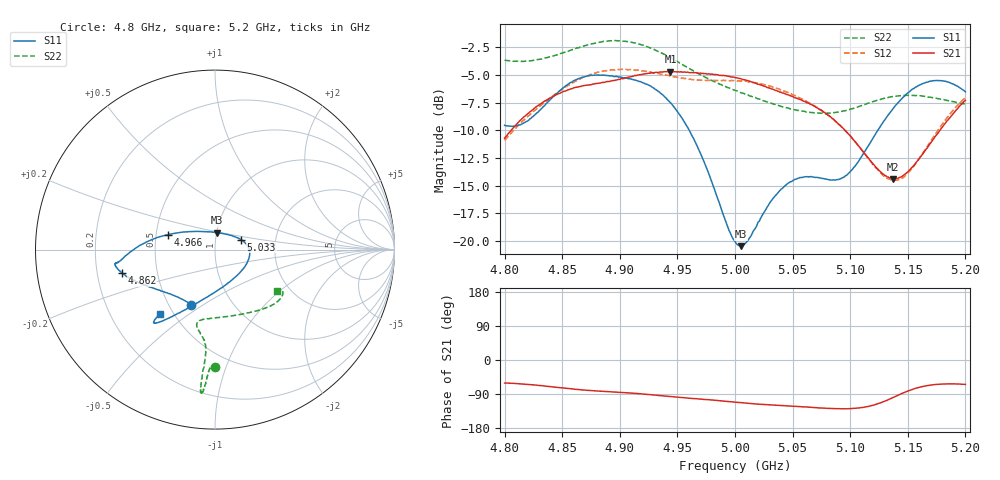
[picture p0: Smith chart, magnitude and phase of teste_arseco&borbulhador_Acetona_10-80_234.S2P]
! Network Analyzer HP8722D
! Hewlett-Packard
! Data name: Linha & Wilkinson
! Saver's name: Rodrigo Anjos
! Comments: Teste da utilização de aquisição
! continua pelo VNA HP8722D
! Time and date: 17/4/2025 16:18
!  Frequency  S11  S21  S12  S22
# HZ  S  MA R 50
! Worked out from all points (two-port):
!   401 points, 4.8 GHz to 5.2 GHz, reference 50 ohm
!   highest |S21| = -4.69 dB at 4.944 GHz (marker M1); lowest = -14.4 dB at 5.137 GHz (marker M2)
!   |S21| within 3 dB of the highest: 4.83 GHz to 5.067 GHz (236.6 MHz wide, 4.78 % of centre); 5.196085 GHz to end of sweep
!   lowest |S11| = -20.5 dB at 5.005 GHz (marker M3), VSWR 1.21, Z = 50.4 + j9.56 ohm
!   |S11| at or under -10 dB: 4.96 GHz to 5.124 GHz (163.5 MHz wide, 3.24 % of centre)
!   |S22| runs from -8.5 to -1.9 dB; largest |S21 - S12| = 0.87
!   S11 on the Smith chart (normalised r, x): 4.8 GHz: 0.65, -0.44; 4.862 GHz: 0.31, -0.11; 4.966 GHz: 0.58, +0.10; 5.033 GHz: 1.33, +0.15; 5.2 GHz: 0.42, -0.39
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4.8e9  0.3338 -113.5  0.2915 -60.8  0.2851 -175.0  0.6564 -90.1
4.819e9  0.3473 -133.6  0.3721 -64.2  0.3608 -173.8  0.6506 -91.7
4.862e9  0.5359 -166.0  0.496 -77.2  0.5284 -177.1  0.744 -93.9
4.867e9  0.5487 -168.0  0.502 -79.0  0.545 -178.1  0.756 -94.1
4.898e9  0.5533 -172.4  0.5356 -84.9  0.5941 175.6  0.804 -95.4
4.934e9  0.4727 -178.4  0.5786 -93.5  0.5717 171.7  0.7155 -95.8
4.944e9  0.4223 177.0  0.583 -96.4  0.5566 171.8  0.6742 -95.7
4.966e9  0.2768 162.6  0.5759 -102.0  0.5354 173.7  0.5793 -95.1
5e9  0.09977 100.2  0.5478 -111.2  0.5308 176.0  0.4797 -99.2
5.005e9  0.09494 82.4  0.5413 -112.6  0.5284 176.2  0.4685 -100.2
5.012e9  0.1023 59.4  0.5285 -114.3  0.5233 175.8  0.4548 -101.8
5.033e9  0.1559 20.8  0.4854 -118.7  0.4958 174.4  0.4173 -103.5
5.05e9  0.1874 3.4  0.4502 -122.0  0.458 174.0  0.3938 -99.5
5.067e9  0.1951 -14.8  0.4119 -125.1  0.4131 173.5  0.3806 -90.5
5.085e9  0.189 -43.1  0.3569 -128.5  0.3555 173.8  0.3797 -77.0
5.097e9  0.1984 -67.4  0.3103 -128.8  0.3108 174.6  0.3904 -67.1
5.134e9  0.3778 -116.9  0.1932 -103.6  0.1905 -156.4  0.4467 -43.0
5.137e9  0.3956 -118.6  0.191 -99.4  0.1885 -151.7  0.4499 -41.7
5.151e9  0.4711 -124.8  0.208 -80.7  0.2058 -130.3  0.4558 -36.5
5.17e9  0.5278 -129.2  0.2782 -66.1  0.2832 -112.4  0.4463 -32.0
5.184e9  0.5244 -130.4  0.349 -63.1  0.3607 -107.3  0.4322 -31.1
5.2e9  0.4727 -130.7  0.4326 -64.5  0.4453 -106.6  0.4152 -33.4
